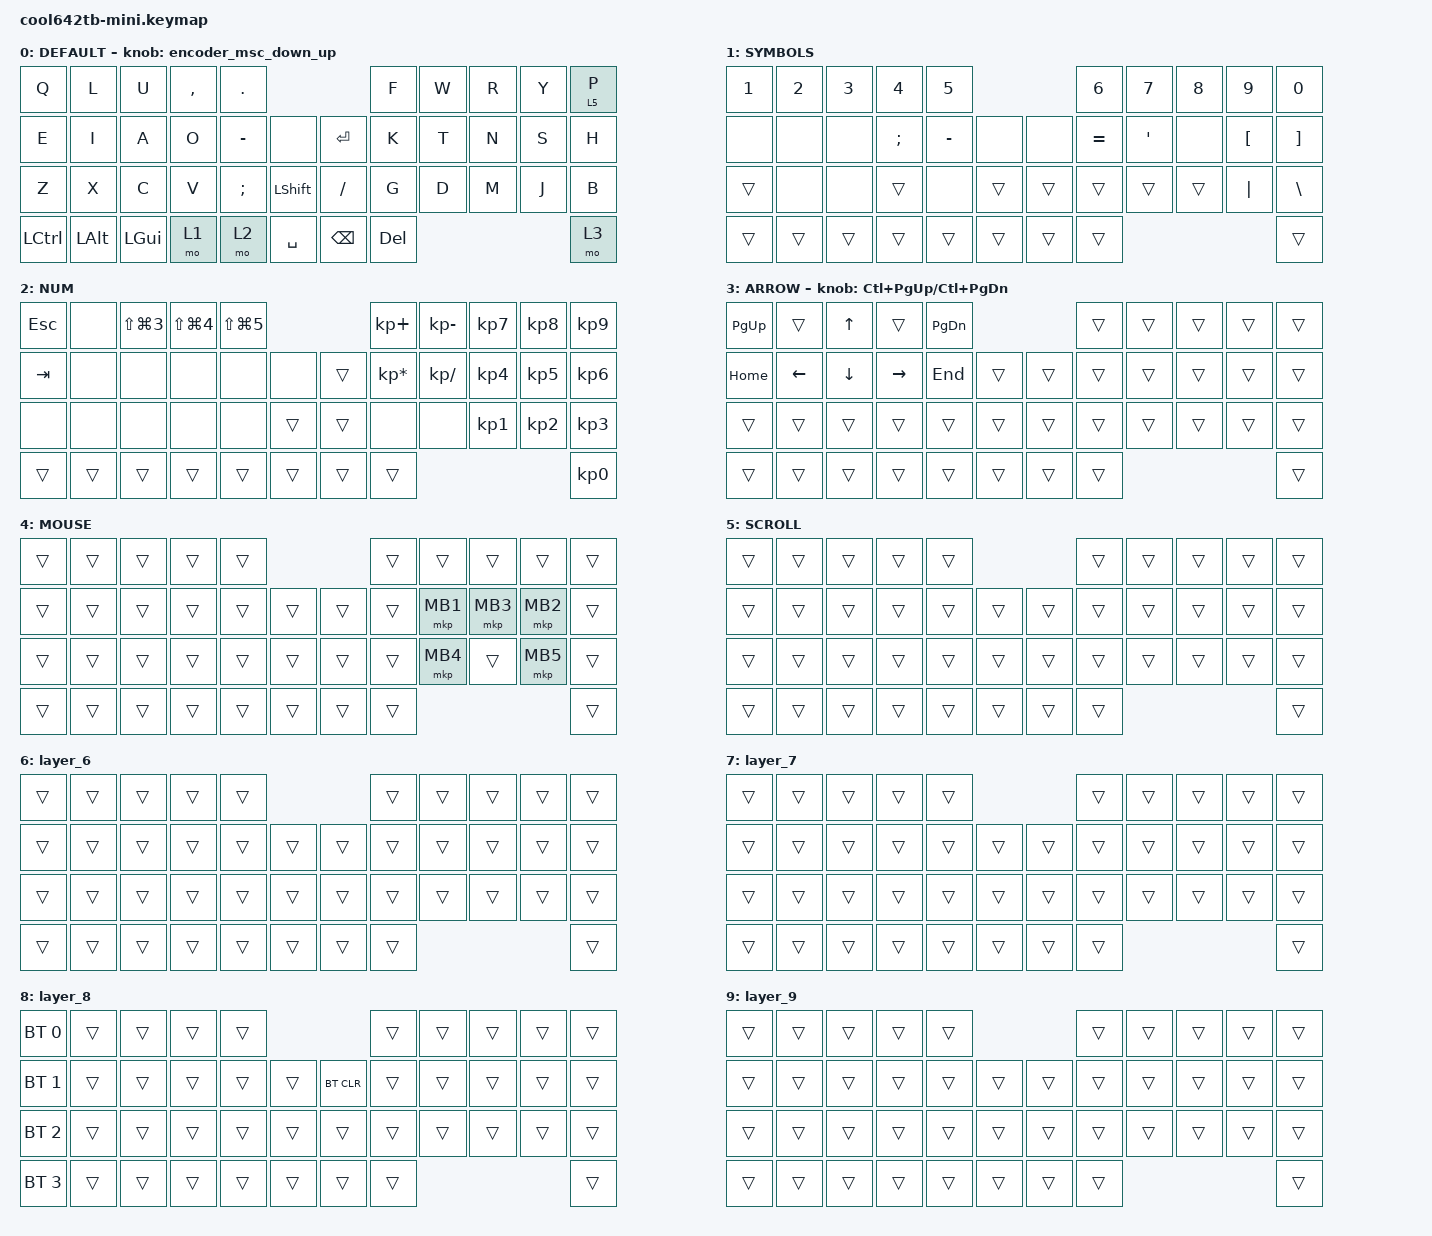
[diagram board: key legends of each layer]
#include <behaviors.dtsi>
#include <dt-bindings/zmk/bt.h>
#include <dt-bindings/zmk/keys.h>
#include <dt-bindings/zmk/pointing.h>

#define MOUSE 4
#define SCROLL 5
#define NUM 6
#define ZMK_POINTING_DEFAULT_SCRL_VAL 80

&mt {
    flavor = "balanced";
    quick-tap-ms = <0>;
};

/ {
    combos {
        compatible = "zmk,combos";

        shift_tab {
            bindings = <&kp LANGUAGE_1>;
            key-positions = <13 14>;
        };

        lang {
            bindings = <&kp LANG2>;
            key-positions = <18 17>;
        };

        aaa {
            bindings = <&mo 8>;
            key-positions = <40 39>;
        };

        delete {
            bindings = <&kp DELETE>;
            key-positions = <8 9>;
        };
    };

    behaviors {
        encoder_msc_down_up: encoder_msc_down_up {
            compatible = "zmk,behavior-sensor-rotate";
            label = "ENCODER_MSC_DOWN_UP";
            #sensor-binding-cells = <0>;
            bindings = <&msc SCRL_UP>, <&msc SCRL_DOWN>;

            tap-ms = <20>;
        };
    };

    keymap {
        compatible = "zmk,keymap";

        DEFAULT {
            bindings = <
&kp Q             &kp L         &kp U         &kp COMMA  &kp PERIOD                                        &kp F       &kp W  &kp R  &kp Y  &lt 5 P
&kp E             &kp I         &kp A         &kp O      &kp MINUS      &none               &kp ENTER      &kp K       &kp T  &kp N  &kp S  &kp H
&kp Z             &kp X         &kp C         &kp V      &kp SEMICOLON  &kp LEFT_SHIFT      &kp SLASH      &kp G       &kp D  &kp M  &kp J  &kp B
&kp LEFT_CONTROL  &kp LEFT_ALT  &kp LEFT_GUI  &mo 1      &mo 2          &kp SPACE           &kp BACKSPACE  &kp DELETE                       &mo 3
            >;

            sensor-bindings = <&encoder_msc_down_up>;
        };

        SYMBOLS {
            bindings = <
&kp NUMBER_1  &kp NUMBER_2  &kp NUMBER_3  &kp NUMBER_4   &kp N5                         &kp NUMBER_6  &kp N7            &kp N8  &kp N9            &kp N0
&none         &none         &none         &kp SEMICOLON  &kp MINUS  &none       &none   &kp EQUAL     &kp SINGLE_QUOTE  &none   &kp LEFT_BRACKET  &kp RIGHT_BRACKET
&trans        &none         &none         &trans         &none      &trans      &trans  &trans        &trans            &trans  &kp PIPE          &kp BACKSLASH
&trans        &trans        &trans        &trans         &trans     &trans      &trans  &trans                                                    &trans
            >;
        };

        NUM {
            bindings = <
&kp ESCAPE  &none   &kp LS(LG(NUMBER_3))  &kp LS(LG(NUMBER_4))  &kp LS(LG(N5))                      &kp KP_PLUS      &kp KP_MINUS  &kp KP_NUMBER_7  &kp KP_NUMBER_8  &kp KP_NUMBER_9
&kp TAB     &none   &none                 &none                 &none           &none       &trans  &kp KP_ASTERISK  &kp KP_SLASH  &kp KP_NUMBER_4  &kp KP_NUMBER_5  &kp KP_NUMBER_6
&none       &none   &none                 &none                 &none           &trans      &trans  &none            &none         &kp KP_NUMBER_1  &kp KP_NUMBER_2  &kp KP_NUMBER_3
&trans      &trans  &trans                &trans                &trans          &trans      &trans  &trans                                                           &kp KP_NUMBER_0
            >;
        };

        ARROW {
            bindings = <
&kp PAGE_UP  &trans    &kp UP    &trans     &kp PAGE_DOWN                      &trans  &trans  &trans  &trans  &trans
&kp HOME     &kp LEFT  &kp DOWN  &kp RIGHT  &kp END        &trans      &trans  &trans  &trans  &trans  &trans  &trans
&trans       &trans    &trans    &trans     &trans         &trans      &trans  &trans  &trans  &trans  &trans  &trans
&trans       &trans    &trans    &trans     &trans         &trans      &trans  &trans                          &trans
            >;

            sensor-bindings = <&inc_dec_kp LC(PAGE_UP) LC(PAGE_DOWN)>;
        };

        MOUSE {
            bindings = <
&trans  &trans  &trans  &trans  &trans                      &trans  &trans    &trans    &trans    &trans
&trans  &trans  &trans  &trans  &trans  &trans      &trans  &trans  &mkp MB1  &mkp MB3  &mkp MB2  &trans
&trans  &trans  &trans  &trans  &trans  &trans      &trans  &trans  &mkp MB4  &trans    &mkp MB5  &trans
&trans  &trans  &trans  &trans  &trans  &trans      &trans  &trans                                &trans
            >;
        };

        SCROLL {
            bindings = <
&trans  &trans  &trans  &trans  &trans                      &trans  &trans  &trans  &trans  &trans
&trans  &trans  &trans  &trans  &trans  &trans      &trans  &trans  &trans  &trans  &trans  &trans
&trans  &trans  &trans  &trans  &trans  &trans      &trans  &trans  &trans  &trans  &trans  &trans
&trans  &trans  &trans  &trans  &trans  &trans      &trans  &trans                          &trans
            >;
        };

        layer_6 {
            bindings = <
&trans  &trans  &trans  &trans  &trans                      &trans  &trans  &trans  &trans  &trans
&trans  &trans  &trans  &trans  &trans  &trans      &trans  &trans  &trans  &trans  &trans  &trans
&trans  &trans  &trans  &trans  &trans  &trans      &trans  &trans  &trans  &trans  &trans  &trans
&trans  &trans  &trans  &trans  &trans  &trans      &trans  &trans                          &trans
            >;
        };

        layer_7 {
            bindings = <
&trans  &trans  &trans  &trans  &trans                      &trans  &trans  &trans  &trans  &trans
&trans  &trans  &trans  &trans  &trans  &trans      &trans  &trans  &trans  &trans  &trans  &trans
&trans  &trans  &trans  &trans  &trans  &trans      &trans  &trans  &trans  &trans  &trans  &trans
&trans  &trans  &trans  &trans  &trans  &trans      &trans  &trans                          &trans
            >;
        };

        layer_8 {
            bindings = <
&bt BT_SEL 0  &trans  &trans  &trans  &trans                          &trans  &trans  &trans  &trans  &trans
&bt BT_SEL 1  &trans  &trans  &trans  &trans  &trans      &bt BT_CLR  &trans  &trans  &trans  &trans  &trans
&bt BT_SEL 2  &trans  &trans  &trans  &trans  &trans      &trans      &trans  &trans  &trans  &trans  &trans
&bt BT_SEL 3  &trans  &trans  &trans  &trans  &trans      &trans      &trans                          &trans
            >;
        };

        layer_9 {
            bindings = <
&trans  &trans  &trans  &trans  &trans                      &trans  &trans  &trans  &trans  &trans
&trans  &trans  &trans  &trans  &trans  &trans      &trans  &trans  &trans  &trans  &trans  &trans
&trans  &trans  &trans  &trans  &trans  &trans      &trans  &trans  &trans  &trans  &trans  &trans
&trans  &trans  &trans  &trans  &trans  &trans      &trans  &trans                          &trans
            >;
        };
    };
};
